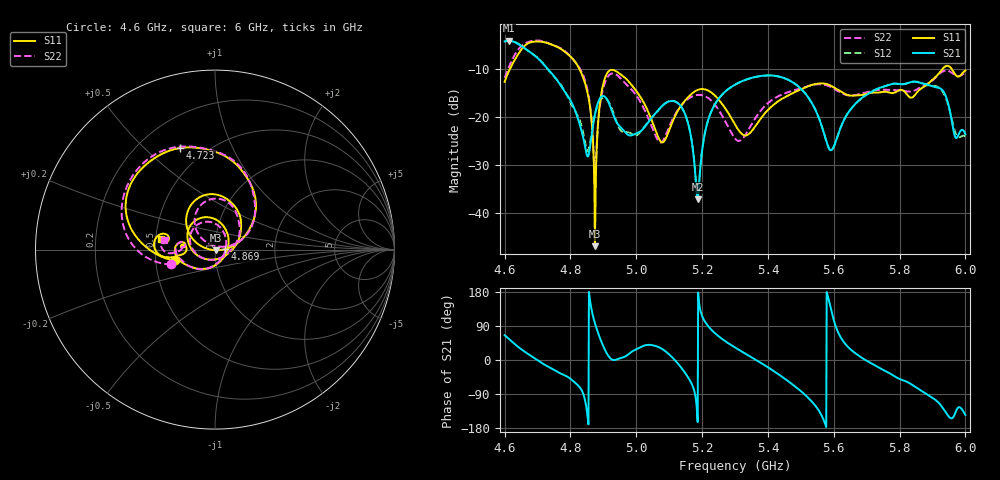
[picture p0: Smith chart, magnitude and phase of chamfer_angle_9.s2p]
! TOUCHSTONE file generated by CST MICROWAVE STUDIO
! Date and time: Sat Nov 30 03:29:17 2024
! Project name: test_tuning.cst
! Parameters = {airCoaxOuterDiameter=3; chamferAngle=51; chamferWidth=24; connectorLength=10; drillingHoleDiameter=4.1; feedLength=60; flareDiameter=130; flareLength=70; gratingDistance=0; gratingGap=1.90274; outletLength=30; polarizerLength=134; probe1Diameter=1.3; probe1Distance=14; probe1Length=1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
! Header version: 2024
! Port assignment regex: !\s*Touchstone port\s*([0-9]+)\s*=\s*(CST MWS port|CST DES external port|CST DES block port)\s*(.+)\s* \(\"(.*)\"\)(\s*mode\s*([0-9]+))?.*
! Touchstone port assignment:
! Touchstone port 1 = CST MWS port 1 ("Input1")
! Touchstone port 2 = CST MWS port 2 ("Input2")
# GHz S MA R 50
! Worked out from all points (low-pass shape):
!   1001 points, 4.6 GHz to 6 GHz, reference 50 ohm
!   highest |S21| = -4.11 dB at 4.613 GHz (marker M1); lowest = -37.2 dB at 5.187 GHz (marker M2)
!   |S21| within 3 dB of the highest: start of sweep to 4.69 GHz
!   lowest |S11| = -46.9 dB at 4.874 GHz (marker M3), VSWR 1.01, Z = 50.3 - j0.32 ohm
!   |S11| at or under -10 dB: start of sweep to 4.616073 GHz; 4.827 GHz to 5.93 GHz (1.103 GHz wide, 20.5 % of centre); 5.958 GHz to end of sweep
!   |S22| runs from -33.8 to -4.0 dB; largest |S21 - S12| = 0.01
!   S11 on the Smith chart (normalised r, x): 4.6 GHz: 0.63, -0.08; 4.723 GHz: 0.37, +0.65; 4.869 GHz: 1.11, +0.00; 6 GHz: 0.54, +0.07
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4.6  0.2322 -165.1  0.6132 65.4  0.6088 65.1  0.2564 -161.1
4.6126  0.2981 -172.2  0.6233 56.0  0.6187 56.3  0.3286 -167.7
4.6602  0.5485 155.2  0.5231 22.3  0.5197 21.9  0.5781 153.4
4.7232  0.5983 108.9  0.3396 -13.4  0.3394 -14.1  0.6046 108.3
4.8338  0.2824 39.2  0.07133 -79.3  0.08076 -80.5  0.2968 41.5
4.8576  0.1411 18.0  0.04379 169.8  0.04931 160.1  0.1477 19.2
4.8688  0.05355 2.2  0.08291 115.0  0.08496 108.7  0.05525 17.6
4.8744  0.004495 -45.1  0.1066 97.1  0.1053 92.1  0.02038 74.2
4.894  0.1774 146.4  0.1628 48.4  0.1541 48.6  0.1624 131.8
4.9206  0.3069 103.6  0.1292 5.0  0.1351 7.1  0.2786 97.5
4.9962  0.1938 41.3  0.06642 26.7  0.06439 24.3  0.175 37.9
5.0676  0.06066 -42.6  0.1187 34.2  0.1179 34.4  0.05585 -53.8
5.1432  0.1412 172.6  0.1172 -27.7  0.1163 -27.5  0.1396 167.1
5.1866  0.1915 135.9  0.01387 -163.8  0.01459 -163.4  0.1696 129.8
5.223  0.1847 102.4  0.1033 84.6  0.1033 84.4  0.1533 97.0
5.3  0.08347 25.2  0.2169 33.1  0.2167 33.0  0.05965 2.0
5.5338  0.2162 -168.0  0.1389 -110.2  0.1393 -109.9  0.2148 -173.4
5.5926  0.2102 170.9  0.04503 131.1  0.04467 131.2  0.2042 169.2
5.7676  0.1801 173.2  0.216 -34.0  0.2173 -34.2  0.1918 172.7
5.9188  0.2829 -171.6  0.2013 -112.9  0.2038 -114.6  0.2768 -177.4
5.9692  0.2772 163.0  0.0615 -139.9  0.06943 -144.2  0.2733 165.6
6  0.3046 169.1  0.0657 -144.9  0.06224 -136.2  0.2915 169.1
